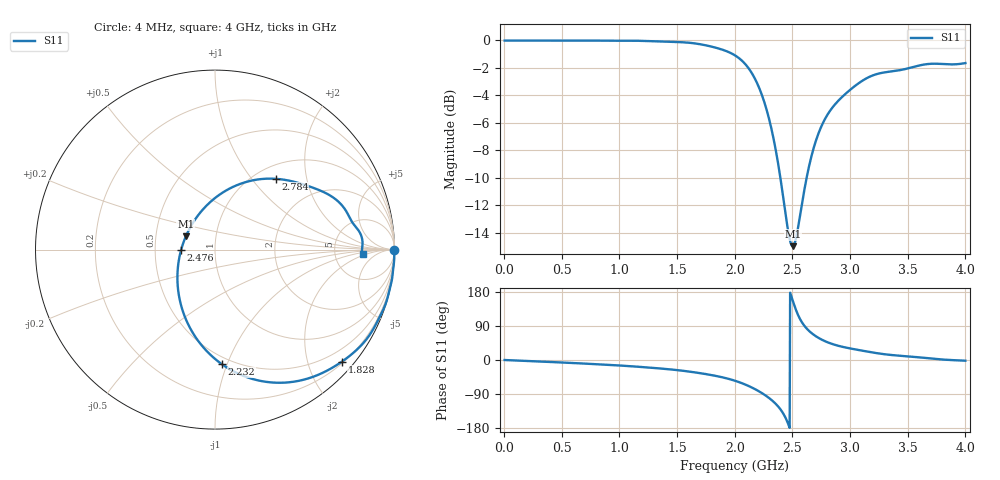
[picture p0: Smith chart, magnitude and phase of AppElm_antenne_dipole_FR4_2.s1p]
! TOUCHSTONE file generated by CST MICROWAVE STUDIO
! Date and time: Thu May 12 15:28:08 2022
! Project name: AppElm_antenne_dipole_FR4.cst
! Parameters = {L=38.8; e=0.035; f=2.45e+09; h=1.6; i=0.8; l1=3.2; lambda=122.449; ls=30; wl=1.7; ws=80}
! Header version: 2018
! Port assignment regex: !\s*Touchstone port\s*([0-9]+)\s*=\s*(CST MWS port|CST DS port)\s*([0-9]+|Zmin|Zmax)\s*\(\"(.*)\"\)(\s*mode\s*([0-9]+))?.*
! Touchstone port assignment:
! Touchstone port 1 = CST MWS port 1 ("")
# GHz S MA R 50
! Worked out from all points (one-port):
!   1000 points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, 4 MHz to 4 GHz, reference 50 ohm
!   lowest |S11| = -15.0 dB at 2.504 GHz (marker M1), VSWR 1.43, Z = 35.7 + j5.43 ohm
!   |S11| at or under -10 dB: 2.396 GHz to 2.623 GHz (227.4 MHz wide, 9.06 % of centre)
!   S11 on the Smith chart (normalised r, x): 4 MHz: open; 1.828 GHz: 0.23, -2.62; 2.232 GHz: 0.44, -0.96; 2.476 GHz: 0.68, -0.00; 2.784 GHz: 1.23, +1.33; 4 GHz: 10, -2
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0.004  0.999 -0.0
0.504  0.9991 -6.6
1.004  0.9979 -14.6
1.504  0.9869 -26.8
1.668  0.9737 -33.3
1.828  0.9428 -41.5
1.924  0.9156 -48.0
2.004  0.8814 -55.0
2.128  0.7834 -69.7
2.18  0.7188 -77.6
2.232  0.6387 -86.7
2.296  0.5211 -100.0
2.364  0.3813 -118.5
2.42  0.269 -141.1
2.476  0.1893 -179.0
2.504  0.1784 155.6
2.54  0.199 125.0
2.588  0.2623 96.9
2.636  0.3362 79.2
2.704  0.4321 62.5
2.784  0.5193 49.4
2.88  0.5923 39.0
3.004  0.6632 30.3
3.224  0.7529 18.5
3.504  0.7919 9.5
3.688  0.8217 4.3
3.82  0.8199 0.8
4  0.8273 -1.9
